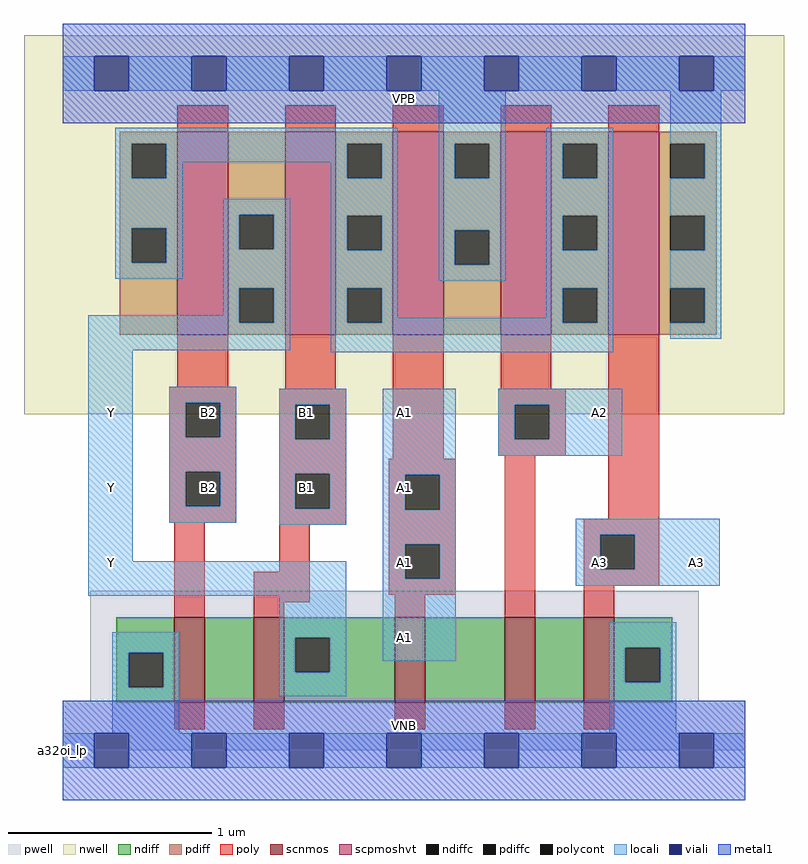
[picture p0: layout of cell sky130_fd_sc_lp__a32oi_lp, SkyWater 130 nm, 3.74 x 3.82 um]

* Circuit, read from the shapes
.subckt sky130_fd_sc_lp__a32oi_lp A1 A2 A3 B1 B2 VGND VNB VPB VPWR Y
XM1 n1 B2 VGND VNB sky130_fd_pr__nfet_01v8 w=0.42 l=0.15
XM2 Y B1 n1 VNB sky130_fd_pr__nfet_01v8 w=0.42 l=0.15
XM3 n2 A1 Y VNB sky130_fd_pr__nfet_01v8 w=0.42 l=0.15
XM4 n3 A2 n2 VNB sky130_fd_pr__nfet_01v8 w=0.42 l=0.15
XM5 VGND A3 n3 VNB sky130_fd_pr__nfet_01v8 w=0.42 l=0.15
XM6 Y B2 n4 VPB sky130_fd_pr__pfet_01v8_hvt w=1 l=0.25
XM7 n4 B1 Y VPB sky130_fd_pr__pfet_01v8_hvt w=1 l=0.25
XM8 VPWR A1 n4 VPB sky130_fd_pr__pfet_01v8_hvt w=1 l=0.25
XM9 n4 A2 VPWR VPB sky130_fd_pr__pfet_01v8_hvt w=1 l=0.25
XM10 VPWR A3 n4 VPB sky130_fd_pr__pfet_01v8_hvt w=1 l=0.25
.ends

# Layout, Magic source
magic
tech sky130A
magscale 1 2
<< nwell >>
rect -38 331 710 704
<< pwell >>
rect 27 49 626 157
rect 0 0 672 49
<< scnmos >>
rect 110 47 140 131
rect 188 47 218 131
rect 327 47 357 131
rect 435 47 465 131
rect 513 47 543 131
<< scpmoshvt >>
rect 113 409 163 609
rect 219 409 269 609
rect 325 409 375 609
rect 431 409 481 609
rect 537 409 587 609
<< ndiff >>
rect 53 96 110 131
rect 53 62 65 96
rect 99 62 110 96
rect 53 47 110 62
rect 140 47 188 131
rect 218 111 327 131
rect 218 77 229 111
rect 263 77 327 111
rect 218 47 327 77
rect 357 47 435 131
rect 465 47 513 131
rect 543 101 600 131
rect 543 67 554 101
rect 588 67 600 101
rect 543 47 600 67
<< pdiff >>
rect 56 597 113 609
rect 56 563 68 597
rect 102 563 113 597
rect 56 514 113 563
rect 56 480 68 514
rect 102 480 113 514
rect 56 409 113 480
rect 163 527 219 609
rect 163 493 174 527
rect 208 493 219 527
rect 163 455 219 493
rect 163 421 174 455
rect 208 421 219 455
rect 163 409 219 421
rect 269 597 325 609
rect 269 563 280 597
rect 314 563 325 597
rect 269 526 325 563
rect 269 492 280 526
rect 314 492 325 526
rect 269 455 325 492
rect 269 421 280 455
rect 314 421 325 455
rect 269 409 325 421
rect 375 597 431 609
rect 375 563 386 597
rect 420 563 431 597
rect 375 512 431 563
rect 375 478 386 512
rect 420 478 431 512
rect 375 409 431 478
rect 481 597 537 609
rect 481 563 492 597
rect 526 563 537 597
rect 481 526 537 563
rect 481 492 492 526
rect 526 492 537 526
rect 481 455 537 492
rect 481 421 492 455
rect 526 421 537 455
rect 481 409 537 421
rect 587 597 644 609
rect 587 563 598 597
rect 632 563 644 597
rect 587 526 644 563
rect 587 492 598 526
rect 632 492 644 526
rect 587 455 644 492
rect 587 421 598 455
rect 632 421 644 455
rect 587 409 644 421
<< ndiffc >>
rect 65 62 99 96
rect 229 77 263 111
rect 554 67 588 101
<< pdiffc >>
rect 68 563 102 597
rect 68 480 102 514
rect 174 493 208 527
rect 174 421 208 455
rect 280 563 314 597
rect 280 492 314 526
rect 280 421 314 455
rect 386 563 420 597
rect 386 478 420 512
rect 492 563 526 597
rect 492 492 526 526
rect 492 421 526 455
rect 598 563 632 597
rect 598 492 632 526
rect 598 421 632 455
<< poly >>
rect 113 609 163 635
rect 219 609 269 635
rect 325 609 375 635
rect 431 609 481 635
rect 537 609 587 635
rect 113 358 163 409
rect 105 342 171 358
rect 219 356 269 409
rect 105 308 121 342
rect 155 308 171 342
rect 105 274 171 308
rect 105 240 121 274
rect 155 240 171 274
rect 105 224 171 240
rect 213 340 279 356
rect 213 306 229 340
rect 263 306 279 340
rect 213 272 279 306
rect 325 287 375 409
rect 431 356 481 409
rect 429 340 495 356
rect 429 306 445 340
rect 479 306 495 340
rect 429 290 495 306
rect 213 238 229 272
rect 263 238 279 272
rect 110 131 140 224
rect 213 222 279 238
rect 321 271 387 287
rect 321 237 337 271
rect 371 237 387 271
rect 213 176 243 222
rect 188 146 243 176
rect 321 203 387 237
rect 321 169 337 203
rect 371 169 387 203
rect 321 153 387 169
rect 188 131 218 146
rect 327 131 357 153
rect 435 131 465 290
rect 537 228 587 409
rect 513 212 587 228
rect 513 178 529 212
rect 563 178 587 212
rect 513 162 587 178
rect 513 131 543 162
rect 110 21 140 47
rect 188 21 218 47
rect 327 21 357 47
rect 435 21 465 47
rect 513 21 543 47
<< polycont >>
rect 121 308 155 342
rect 121 240 155 274
rect 229 306 263 340
rect 445 306 479 340
rect 229 238 263 272
rect 337 237 371 271
rect 337 169 371 203
rect 529 178 563 212
<< locali >>
rect 0 649 31 683
rect 65 649 127 683
rect 161 649 223 683
rect 257 649 319 683
rect 353 649 415 683
rect 449 649 511 683
rect 545 649 607 683
rect 641 649 672 683
rect 52 597 330 613
rect 52 563 68 597
rect 102 579 280 597
rect 102 563 118 579
rect 52 514 118 563
rect 264 563 280 579
rect 314 563 330 597
rect 52 480 68 514
rect 102 480 118 514
rect 52 464 118 480
rect 158 527 224 543
rect 158 493 174 527
rect 208 493 224 527
rect 158 455 224 493
rect 158 428 174 455
rect 25 421 174 428
rect 208 421 224 455
rect 25 394 224 421
rect 264 526 330 563
rect 264 492 280 526
rect 314 492 330 526
rect 264 455 330 492
rect 370 597 436 649
rect 370 563 386 597
rect 420 563 436 597
rect 370 512 436 563
rect 370 478 386 512
rect 420 478 436 512
rect 370 462 436 478
rect 476 597 542 613
rect 476 563 492 597
rect 526 563 542 597
rect 476 526 542 563
rect 476 492 492 526
rect 526 492 542 526
rect 264 421 280 455
rect 314 426 330 455
rect 476 455 542 492
rect 476 426 492 455
rect 314 421 492 426
rect 526 421 542 455
rect 25 186 69 394
rect 264 392 542 421
rect 598 597 648 649
rect 632 563 648 597
rect 598 526 648 563
rect 632 492 648 526
rect 598 455 648 492
rect 632 421 648 455
rect 598 405 648 421
rect 105 342 171 358
rect 105 308 121 342
rect 155 308 171 342
rect 105 274 171 308
rect 105 240 121 274
rect 155 240 171 274
rect 105 224 171 240
rect 213 340 279 356
rect 213 306 229 340
rect 263 306 279 340
rect 213 272 279 306
rect 213 238 229 272
rect 263 238 279 272
rect 213 222 279 238
rect 315 271 387 356
rect 429 340 551 356
rect 429 306 445 340
rect 479 306 551 340
rect 429 290 551 306
rect 315 237 337 271
rect 371 237 387 271
rect 315 203 387 237
rect 25 152 279 186
rect 49 96 115 116
rect 49 62 65 96
rect 99 62 115 96
rect 49 17 115 62
rect 213 111 279 152
rect 213 77 229 111
rect 263 77 279 111
rect 315 169 337 203
rect 371 169 387 203
rect 315 88 387 169
rect 505 212 647 228
rect 505 178 529 212
rect 563 178 647 212
rect 505 162 647 178
rect 538 101 604 126
rect 213 53 279 77
rect 538 67 554 101
rect 588 67 604 101
rect 538 17 604 67
rect 0 -17 31 17
rect 65 -17 127 17
rect 161 -17 223 17
rect 257 -17 319 17
rect 353 -17 415 17
rect 449 -17 511 17
rect 545 -17 607 17
rect 641 -17 672 17
<< viali >>
rect 31 649 65 683
rect 127 649 161 683
rect 223 649 257 683
rect 319 649 353 683
rect 415 649 449 683
rect 511 649 545 683
rect 607 649 641 683
rect 31 -17 65 17
rect 127 -17 161 17
rect 223 -17 257 17
rect 319 -17 353 17
rect 415 -17 449 17
rect 511 -17 545 17
rect 607 -17 641 17
<< metal1 >>
rect 0 683 672 715
rect 0 649 31 683
rect 65 649 127 683
rect 161 649 223 683
rect 257 649 319 683
rect 353 649 415 683
rect 449 649 511 683
rect 545 649 607 683
rect 641 649 672 683
rect 0 617 672 649
rect 0 17 672 49
rect 0 -17 31 17
rect 65 -17 127 17
rect 161 -17 223 17
rect 257 -17 319 17
rect 353 -17 415 17
rect 449 -17 511 17
rect 545 -17 607 17
rect 641 -17 672 17
rect 0 -49 672 -17
<< labels >>
flabel pwell s 0 0 672 49 0 FreeSans 200 0 0 0 VNB
port 7 nsew ground bidirectional
flabel nwell s 0 617 672 666 0 FreeSans 200 0 0 0 VPB
port 8 nsew power bidirectional
rlabel comment s 0 0 0 0 4 a32oi_lp
flabel metal1 s 0 617 672 666 0 FreeSans 340 0 0 0 VPWR
port 9 nsew power bidirectional
flabel metal1 s 0 0 672 49 0 FreeSans 340 0 0 0 VGND
port 6 nsew ground bidirectional
flabel locali s 127 242 161 276 0 FreeSans 340 0 0 0 B2
port 5 nsew signal input
flabel locali s 127 316 161 350 0 FreeSans 340 0 0 0 B2
port 5 nsew signal input
flabel locali s 511 168 545 202 0 FreeSans 340 0 0 0 A3
port 3 nsew signal input
flabel locali s 607 168 641 202 0 FreeSans 340 0 0 0 A3
port 3 nsew signal input
flabel locali s 511 316 545 350 0 FreeSans 340 0 0 0 A2
port 2 nsew signal input
flabel locali s 319 94 353 128 0 FreeSans 340 0 0 0 A1
port 1 nsew signal input
flabel locali s 319 168 353 202 0 FreeSans 340 0 0 0 A1
port 1 nsew signal input
flabel locali s 319 242 353 276 0 FreeSans 340 0 0 0 A1
port 1 nsew signal input
flabel locali s 319 316 353 350 0 FreeSans 340 0 0 0 A1
port 1 nsew signal input
flabel locali s 223 242 257 276 0 FreeSans 340 0 0 0 B1
port 4 nsew signal input
flabel locali s 223 316 257 350 0 FreeSans 340 0 0 0 B1
port 4 nsew signal input
flabel locali s 31 168 65 202 0 FreeSans 340 0 0 0 Y
port 10 nsew signal output
flabel locali s 31 242 65 276 0 FreeSans 340 0 0 0 Y
port 10 nsew signal output
flabel locali s 31 316 65 350 0 FreeSans 340 0 0 0 Y
port 10 nsew signal output
<< properties >>
string LEFsite unit
string LEFclass CORE
string FIXED_BBOX 0 0 672 666
string GDS_FILE $PDKPATH/libs.ref/sky130_fd_sc_lp/gds/sky130_fd_sc_lp.gds
string LEFsymmetry X Y R90
string GDS_END 1027470
string GDS_START 1020124
<< end >>
